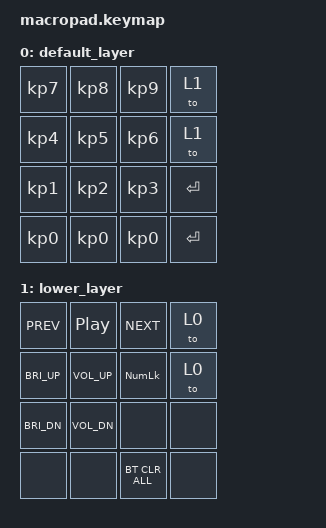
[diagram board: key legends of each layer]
#include <behaviors.dtsi>
#include <dt-bindings/zmk/keys.h>
#include <dt-bindings/zmk/bt.h>

/ {
        keymap {
                compatible = "zmk,keymap";

                default_layer {
                        bindings = <
                            &kp KP_N7    &kp KP_N8    &kp KP_N9    &to 1
                            &kp KP_N4    &kp KP_N5    &kp KP_N6    &to 1
                            &kp KP_N1    &kp KP_N2    &kp KP_N3    &kp ENTER
                            &kp KP_N0    &kp KP_N0    &kp KP_N0    &kp ENTER
                        >;
                };

                lower_layer {
                    bindings = <
                            &kp C_PREV     &kp C_PP     &kp C_NEXT        &to 0
                            &kp C_BRI_UP   &kp C_VOL_UP &kp KP_NUMLOCK    &to 0
                            &kp C_BRI_DN   &kp C_VOL_DN &none             &none
                            &none          &none        &bt BT_CLR_ALL    &none
                        >;
                };
        };
};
